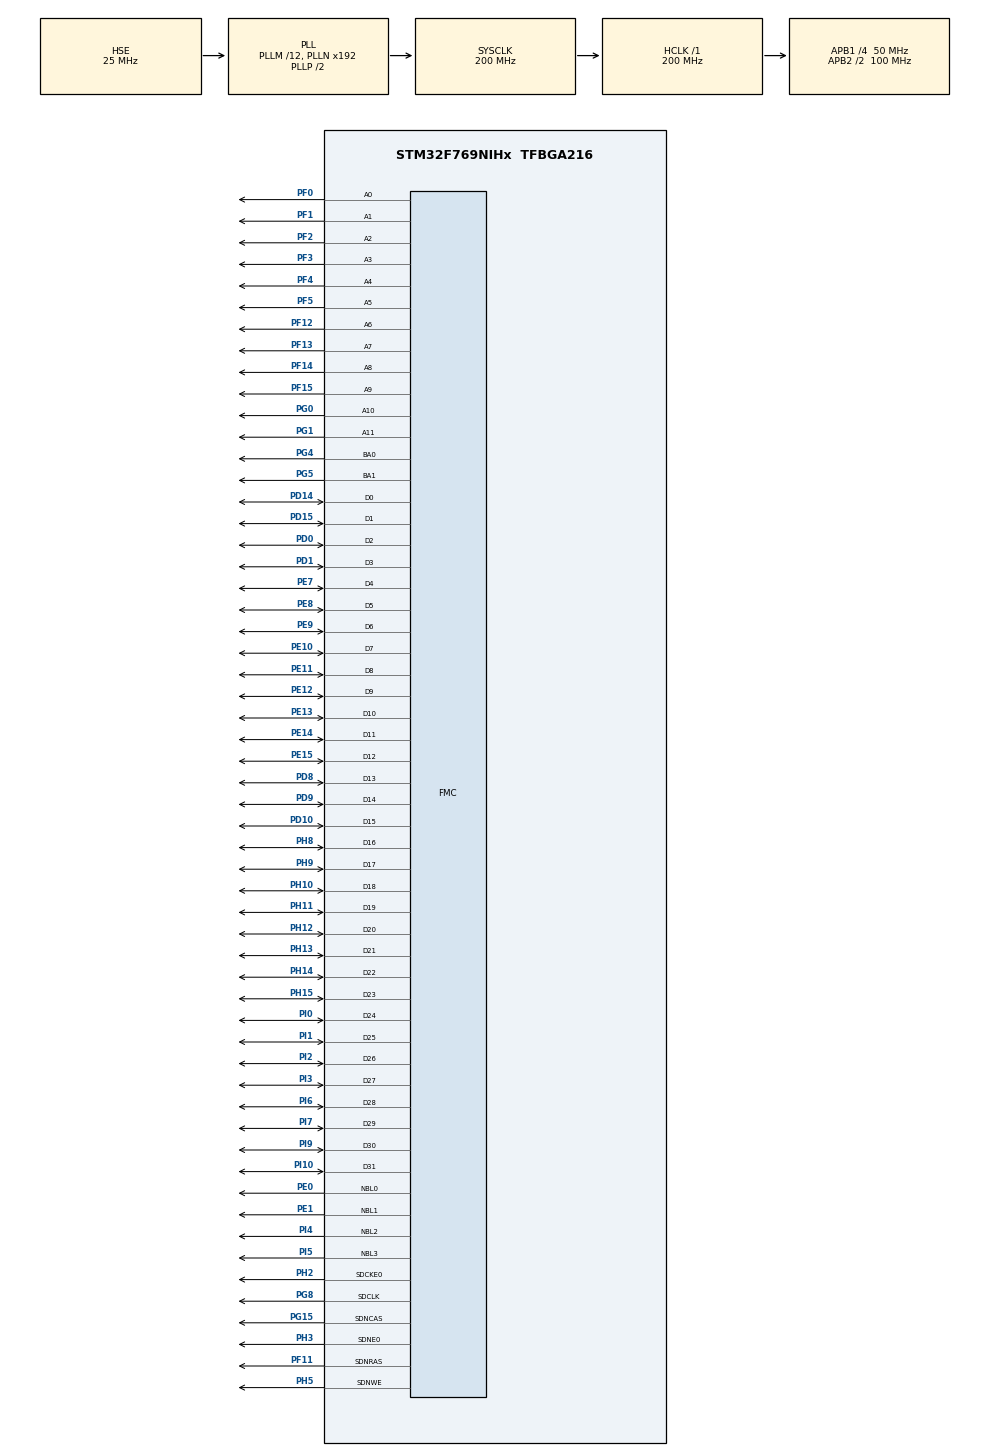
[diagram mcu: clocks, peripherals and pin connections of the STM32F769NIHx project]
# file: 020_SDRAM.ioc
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FMC.CASLatency1=FMC_SDRAM_CAS_LATENCY_2
FMC.ExitSelfRefreshDelay1=6
FMC.LoadToActiveDelay1=2
FMC.RCDDelay1=2
FMC.RPDelay1=2
FMC.RPDelay2=2
FMC.ReadBurst1=FMC_SDRAM_RBURST_ENABLE
FMC.ReadBurst2=FMC_SDRAM_RBURST_ENABLE
FMC.RowCycleDelay1=6
FMC.RowCycleDelay2=6
FMC.SDClockPeriod1=FMC_SDRAM_CLOCK_PERIOD_2
FMC.SDClockPeriod2=FMC_SDRAM_CLOCK_PERIOD_2
FMC.SelfRefreshTime1=4
FMC.WriteRecoveryTime1=2
Mcu.Family=STM32F7
Mcu.Name=STM32F769NIHx
Mcu.Package=TFBGA216
NVIC.PriorityGroup=NVIC_PRIORITYGROUP_4
PA13.Mode=Trace_Asynchronous_SW
PA13.Signal=SYS_JTMS-SWDIO
PA14.Mode=Trace_Asynchronous_SW
PA14.Signal=SYS_JTCK-SWCLK
PB3.Mode=Trace_Asynchronous_SW
PB3.Signal=SYS_JTDO-SWO
PD0.Signal=FMC_D2_DA2
PD1.Signal=FMC_D3_DA3
PD10.Signal=FMC_D15_DA15
PD14.Signal=FMC_D0_DA0
PD15.Signal=FMC_D1_DA1
PD8.Signal=FMC_D13_DA13
PD9.Signal=FMC_D14_DA14
PE0.Signal=FMC_NBL0
PE1.Signal=FMC_NBL1
PE10.Signal=FMC_D7_DA7
PE11.Signal=FMC_D8_DA8
PE12.Signal=FMC_D9_DA9
PE13.Signal=FMC_D10_DA10
PE14.Signal=FMC_D11_DA11
PE15.Signal=FMC_D12_DA12
PE7.Signal=FMC_D4_DA4
PE8.Signal=FMC_D5_DA5
PE9.Signal=FMC_D6_DA6
PF0.Signal=FMC_A0
PF1.Signal=FMC_A1
PF11.Signal=FMC_SDNRAS
PF12.Signal=FMC_A6
PF13.Signal=FMC_A7
PF14.Signal=FMC_A8
PF15.Signal=FMC_A9
PF2.Signal=FMC_A2
PF3.Signal=FMC_A3
PF4.Signal=FMC_A4
PF5.Signal=FMC_A5
PG0.Signal=FMC_A10
PG1.Signal=FMC_A11
PG15.Signal=FMC_SDNCAS
PG4.Signal=FMC_A14_BA0
PG5.Signal=FMC_A15_BA1
PG8.Signal=FMC_SDCLK
PH0/OSC_IN.Mode=HSE-External-Oscillator
PH0/OSC_IN.Signal=RCC_OSC_IN
PH1/OSC_OUT.Mode=HSE-External-Oscillator
PH1/OSC_OUT.Signal=RCC_OSC_OUT
PH10.Signal=FMC_D18
PH11.Signal=FMC_D19
PH12.Signal=FMC_D20
PH13.Signal=FMC_D21
PH14.Signal=FMC_D22
PH15.Signal=FMC_D23
PH2.Mode=SdramChipSelect1_1
PH2.Signal=FMC_SDCKE0
PH3.Mode=SdramChipSelect1_1
PH3.Signal=FMC_SDNE0
PH5.Signal=FMC_SDNWE
PH8.Signal=FMC_D16
PH9.Signal=FMC_D17
PI0.Signal=FMC_D24
PI1.Signal=FMC_D25
PI10.Signal=FMC_D31
PI2.Signal=FMC_D26
PI3.Signal=FMC_D27
PI4.Signal=FMC_NBL2
PI5.Signal=FMC_NBL3
PI6.Signal=FMC_D28
PI7.Signal=FMC_D29
PI9.Signal=FMC_D30
ProjectManager.HeapSize=0x200
ProjectManager.StackSize=0x400
ProjectManager.TargetToolchain=STM32CubeIDE
RCC.AHBFreq_Value=200000000
RCC.APB1CLKDivider=RCC_HCLK_DIV4
RCC.APB1Freq_Value=50000000
RCC.APB1TimFreq_Value=100000000
RCC.APB2CLKDivider=RCC_HCLK_DIV2
RCC.APB2Freq_Value=100000000
RCC.APB2TimFreq_Value=200000000
RCC.CortexFreq_Value=200000000
RCC.HCLKFreq_Value=200000000
RCC.HSE_VALUE=25000000
RCC.HSI_VALUE=16000000
RCC.LSE_VALUE=32768
RCC.PLLM=12
RCC.PLLSourceVirtual=RCC_PLLSOURCE_HSE
RCC.SYSCLKFreq_VALUE=200000000
RCC.SYSCLKSource=RCC_SYSCLKSOURCE_PLLCLK
RCC.USBFreq_Value=200000000
RCC.VCOOutputFreq_Value=400000000
SH.FMC_A0.0=FMC_A0,12b-sda1
SH.FMC_A1.0=FMC_A1,12b-sda1
SH.FMC_A10.0=FMC_A10,12b-sda1
SH.FMC_A11.0=FMC_A11,12b-sda1
SH.FMC_A14_BA0.0=FMC_BA0,FourSdramBanks1
SH.FMC_A15_BA1.0=FMC_BA1,FourSdramBanks1
SH.FMC_A2.0=FMC_A2,12b-sda1
SH.FMC_A3.0=FMC_A3,12b-sda1
SH.FMC_A4.0=FMC_A4,12b-sda1
SH.FMC_A5.0=FMC_A5,12b-sda1
SH.FMC_A6.0=FMC_A6,12b-sda1
SH.FMC_A7.0=FMC_A7,12b-sda1
SH.FMC_A8.0=FMC_A8,12b-sda1
SH.FMC_A9.0=FMC_A9,12b-sda1
SH.FMC_D0_DA0.0=FMC_D0,sd-32b-d1
SH.FMC_D10_DA10.0=FMC_D10,sd-32b-d1
SH.FMC_D11_DA11.0=FMC_D11,sd-32b-d1
SH.FMC_D12_DA12.0=FMC_D12,sd-32b-d1
SH.FMC_D13_DA13.0=FMC_D13,sd-32b-d1
SH.FMC_D14_DA14.0=FMC_D14,sd-32b-d1
SH.FMC_D15_DA15.0=FMC_D15,sd-32b-d1
SH.FMC_D16.0=FMC_D16,sd-32b-d1
SH.FMC_D17.0=FMC_D17,sd-32b-d1
SH.FMC_D18.0=FMC_D18,sd-32b-d1
SH.FMC_D19.0=FMC_D19,sd-32b-d1
SH.FMC_D1_DA1.0=FMC_D1,sd-32b-d1
SH.FMC_D20.0=FMC_D20,sd-32b-d1
SH.FMC_D21.0=FMC_D21,sd-32b-d1
SH.FMC_D22.0=FMC_D22,sd-32b-d1
SH.FMC_D23.0=FMC_D23,sd-32b-d1
SH.FMC_D24.0=FMC_D24,sd-32b-d1
SH.FMC_D25.0=FMC_D25,sd-32b-d1
SH.FMC_D26.0=FMC_D26,sd-32b-d1
SH.FMC_D27.0=FMC_D27,sd-32b-d1
SH.FMC_D28.0=FMC_D28,sd-32b-d1
SH.FMC_D29.0=FMC_D29,sd-32b-d1
SH.FMC_D2_DA2.0=FMC_D2,sd-32b-d1
SH.FMC_D30.0=FMC_D30,sd-32b-d1
SH.FMC_D31.0=FMC_D31,sd-32b-d1
SH.FMC_D3_DA3.0=FMC_D3,sd-32b-d1
SH.FMC_D4_DA4.0=FMC_D4,sd-32b-d1
SH.FMC_D5_DA5.0=FMC_D5,sd-32b-d1
SH.FMC_D6_DA6.0=FMC_D6,sd-32b-d1
SH.FMC_D7_DA7.0=FMC_D7,sd-32b-d1
SH.FMC_D8_DA8.0=FMC_D8,sd-32b-d1
SH.FMC_D9_DA9.0=FMC_D9,sd-32b-d1
SH.FMC_NBL0.0=FMC_NBL0,Sd4ByteEnable1
SH.FMC_NBL1.0=FMC_NBL1,Sd4ByteEnable1
SH.FMC_NBL2.0=FMC_NBL2,Sd4ByteEnable1
SH.FMC_NBL3.0=FMC_NBL3,Sd4ByteEnable1
SH.FMC_SDCLK.0=FMC_SDCLK,12b-sda1
SH.FMC_SDNCAS.0=FMC_SDNCAS,12b-sda1
SH.FMC_SDNRAS.0=FMC_SDNRAS,12b-sda1
SH.FMC_SDNWE.0=FMC_SDNWE,12b-sda1
board=custom

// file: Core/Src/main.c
/* USER CODE BEGIN Header */
/**
 ******************************************************************************
 * @file           : main.c
 * @brief          : Main program body
 ******************************************************************************
 * @attention
 *
 * Copyright (c) 2023 STMicroelectronics.
 * All rights reserved.
 *
 * This software is licensed under terms that can be found in the LICENSE file
 * in the root directory of this software component.
 * If no LICENSE file comes with this software, it is provided AS-IS.
 *
 ******************************************************************************
 */
/* USER CODE END Header */
#include "main.h"

SDRAM_HandleTypeDef hsdram1;

void SystemClock_Config(void);
static void MX_GPIO_Init(void);
static void MX_FMC_Init(void);

int main(void) {

	/* MCU Configuration--------------------------------------------------------*/

	/* Reset of all peripherals, Initializes the Flash interface and the Systick. */
	HAL_Init();

	/* Configure the system clock */
	SystemClock_Config();

	/* Initialize all configured peripherals */
	MX_GPIO_Init();
	MX_FMC_Init();

	/* Infinite loop */
	/* USER CODE BEGIN WHILE */

	// adres start 0xC0000000 - adres stop 0xc0ffffff - 128Mb, 16MB, 8M half Word, 4M Word
#define SDRAM_BANK_ADDR ((uint32_t)0xC0000000)

	// czyszczenie całej pamięci SDRAM
	volatile uint32_t clearTimeSDRAM = HAL_GetTick();
	for (int i = 0; i < 0x1000000; i++)
		*(__IO uint8_t*) (SDRAM_BANK_ADDR + (1 * i)) = 0xc8;
	clearTimeSDRAM = HAL_GetTick() - clearTimeSDRAM;
	__NOP();

	// uzupełnianie pamięci ram
	uint8_t tab[0x100] = { 0 };
	volatile uint32_t timeRAM = HAL_GetTick();
	for (int j = 0; j < 0x10000; j++)
		for (int i = 0; i < 0x100; i++) {
			tab[i] = i;
		}
	timeRAM = HAL_GetTick() - timeRAM;
	__NOP();

	// uzupełnianie SDRAM
	volatile uint32_t timeSDRAM = HAL_GetTick();
	for (int j = 0; j < 0x10000; j++)
		for (int i = 0; i < 0x100; i++) {
			*(__IO uint8_t*) (SDRAM_BANK_ADDR + (1 * i)) = i; //bajt
			//	*(__IO uint16_t*) (SDRAM_BANK_ADDR + (2 * i)) = i; //pół słowo
			//	*(__IO uint32_t*) (SDRAM_BANK_ADDR + (4 * i)) = i; // słowo
		}
	timeSDRAM = HAL_GetTick() - timeSDRAM;
	__NOP();

	while (1) {
		/* USER CODE END WHILE */

	}
}

void SystemClock_Config(void) {
	RCC_OscInitTypeDef RCC_OscInitStruct = { 0 };
	RCC_ClkInitTypeDef RCC_ClkInitStruct = { 0 };

	/** Configure the main internal regulator output voltage
	 */
	__HAL_RCC_PWR_CLK_ENABLE();
	__HAL_PWR_VOLTAGESCALING_CONFIG(PWR_REGULATOR_VOLTAGE_SCALE1);

	/** Initializes the RCC Oscillators according to the specified parameters
	 * in the RCC_OscInitTypeDef structure.
	 */
	RCC_OscInitStruct.OscillatorType = RCC_OSCILLATORTYPE_HSE;
	RCC_OscInitStruct.HSEState = RCC_HSE_ON;
	RCC_OscInitStruct.PLL.PLLState = RCC_PLL_ON;
	RCC_OscInitStruct.PLL.PLLSource = RCC_PLLSOURCE_HSE;
	RCC_OscInitStruct.PLL.PLLM = 12;
	RCC_OscInitStruct.PLL.PLLN = 192;
	RCC_OscInitStruct.PLL.PLLP = RCC_PLLP_DIV2;
	RCC_OscInitStruct.PLL.PLLQ = 2;
	RCC_OscInitStruct.PLL.PLLR = 2;
	if (HAL_RCC_OscConfig(&RCC_OscInitStruct) != HAL_OK) {
		Error_Handler();
	}

	/** Activate the Over-Drive mode
	 */
	if (HAL_PWREx_EnableOverDrive() != HAL_OK) {
		Error_Handler();
	}

	/** Initializes the CPU, AHB and APB buses clocks
	 */
	RCC_ClkInitStruct.ClockType = RCC_CLOCKTYPE_HCLK | RCC_CLOCKTYPE_SYSCLK | RCC_CLOCKTYPE_PCLK1 | RCC_CLOCKTYPE_PCLK2;
	RCC_ClkInitStruct.SYSCLKSource = RCC_SYSCLKSOURCE_PLLCLK;
	RCC_ClkInitStruct.AHBCLKDivider = RCC_SYSCLK_DIV1;
	RCC_ClkInitStruct.APB1CLKDivider = RCC_HCLK_DIV4;
	RCC_ClkInitStruct.APB2CLKDivider = RCC_HCLK_DIV2;

	if (HAL_RCC_ClockConfig(&RCC_ClkInitStruct, FLASH_LATENCY_6) != HAL_OK) {
		Error_Handler();
	}
}

/* FMC initialization function */
static void MX_FMC_Init(void) {

	FMC_SDRAM_TimingTypeDef SdramTiming = { 0 };

	/** Perform the SDRAM1 memory initialization sequence
	 */
	hsdram1.Instance = FMC_SDRAM_DEVICE;
	/* hsdram1.Init */
	hsdram1.Init.SDBank = FMC_SDRAM_BANK1;
	hsdram1.Init.ColumnBitsNumber = FMC_SDRAM_COLUMN_BITS_NUM_8;
	hsdram1.Init.RowBitsNumber = FMC_SDRAM_ROW_BITS_NUM_12;
	hsdram1.Init.MemoryDataWidth = FMC_SDRAM_MEM_BUS_WIDTH_32;
	hsdram1.Init.InternalBankNumber = FMC_SDRAM_INTERN_BANKS_NUM_4;
	hsdram1.Init.CASLatency = FMC_SDRAM_CAS_LATENCY_2;
	hsdram1.Init.WriteProtection = FMC_SDRAM_WRITE_PROTECTION_DISABLE;
	hsdram1.Init.SDClockPeriod = FMC_SDRAM_CLOCK_PERIOD_2;
	hsdram1.Init.ReadBurst = FMC_SDRAM_RBURST_ENABLE;
	hsdram1.Init.ReadPipeDelay = FMC_SDRAM_RPIPE_DELAY_0;
	/* SdramTiming */
	SdramTiming.LoadToActiveDelay = 2;
	SdramTiming.ExitSelfRefreshDelay = 7;
	SdramTiming.SelfRefreshTime = 4;
	SdramTiming.RowCycleDelay = 6;
	SdramTiming.WriteRecoveryTime = 2;
	SdramTiming.RPDelay = 2;
	SdramTiming.RCDDelay = 2;

	if (HAL_SDRAM_Init(&hsdram1, &SdramTiming) != HAL_OK) {
		Error_Handler();
	}

	/* USER CODE BEGIN FMC_Init 2 */
#define SDRAM_MODEREG_BURST_LENGTH_1            	((uint16_t)0x0000)
#define SDRAM_MODEREG_BURST_LENGTH_2            	((uint16_t)0x0001)
#define SDRAM_MODEREG_BURST_LENGTH_4            	((uint16_t)0x0002)
#define SDRAM_MODEREG_BURST_LENGTH_8            	((uint16_t)0x0004)
#define SDRAM_MODEREG_BURST_TYPE_SEQUENTIAL     	((uint16_t)0x0000)
#define SDRAM_MODEREG_BURST_TYPE_INTERLEAVED    	((uint16_t)0x0008)
#define SDRAM_MODEREG_CAS_LATENCY_2             	((uint16_t)0x0020)
#define SDRAM_MODEREG_CAS_LATENCY_3             	((uint16_t)0x0030)
#define SDRAM_MODEREG_OPERATING_MODE_STANDARD   	((uint16_t)0x0000)
#define SDRAM_MODEREG_WRITEBURST_MODE_PROGRAMMED	((uint16_t)0x0000)
#define SDRAM_MODEREG_WRITEBURST_MODE_SINGLE    	((uint16_t)0x0200)
	// SDRAM Initialization Sequence
	FMC_SDRAM_CommandTypeDef cmd;
	cmd.CommandMode = FMC_SDRAM_CMD_CLK_ENABLE;
	cmd.CommandTarget = FMC_SDRAM_CMD_TARGET_BANK1;
	cmd.AutoRefreshNumber = 1;
	cmd.ModeRegisterDefinition = 0;
	HAL_SDRAM_SendCommand(&hsdram1, &cmd, 0xFFFF);
	HAL_Delay(1);
	cmd.CommandMode = FMC_SDRAM_CMD_PALL;
	cmd.CommandTarget = FMC_SDRAM_CMD_TARGET_BANK1;
	cmd.AutoRefreshNumber = 1;
	cmd.ModeRegisterDefinition = 0;
	HAL_SDRAM_SendCommand(&hsdram1, &cmd, 0xFFFF);
	cmd.CommandMode = FMC_SDRAM_CMD_AUTOREFRESH_MODE;
	cmd.CommandTarget = FMC_SDRAM_CMD_TARGET_BANK1;
	cmd.AutoRefreshNumber = 8;
	cmd.ModeRegisterDefinition = 0;
	HAL_SDRAM_SendCommand(&hsdram1, &cmd, 0xFFFF);
	cmd.CommandMode = FMC_SDRAM_CMD_LOAD_MODE;
	cmd.CommandTarget = FMC_SDRAM_CMD_TARGET_BANK1;
	cmd.AutoRefreshNumber = 1;
	cmd.ModeRegisterDefinition =
	SDRAM_MODEREG_BURST_LENGTH_1 |
	SDRAM_MODEREG_BURST_TYPE_SEQUENTIAL |
	SDRAM_MODEREG_CAS_LATENCY_2 |
	SDRAM_MODEREG_OPERATING_MODE_STANDARD |
	SDRAM_MODEREG_WRITEBURST_MODE_SINGLE;
	HAL_SDRAM_SendCommand(&hsdram1, &cmd, 0xFFFF);
	HAL_SDRAM_ProgramRefreshRate(&hsdram1, 1543);
	/* USER CODE END FMC_Init 2 */
}

static void MX_GPIO_Init(void) {

	/* GPIO Ports Clock Enable */
	__HAL_RCC_GPIOE_CLK_ENABLE();
	__HAL_RCC_GPIOB_CLK_ENABLE();
	__HAL_RCC_GPIOA_CLK_ENABLE();
	__HAL_RCC_GPIOG_CLK_ENABLE();
	__HAL_RCC_GPIOD_CLK_ENABLE();
	__HAL_RCC_GPIOI_CLK_ENABLE();
	__HAL_RCC_GPIOF_CLK_ENABLE();
	__HAL_RCC_GPIOH_CLK_ENABLE();

}

void Error_Handler(void) {
	__disable_irq();
	while (1) {
	}
}
